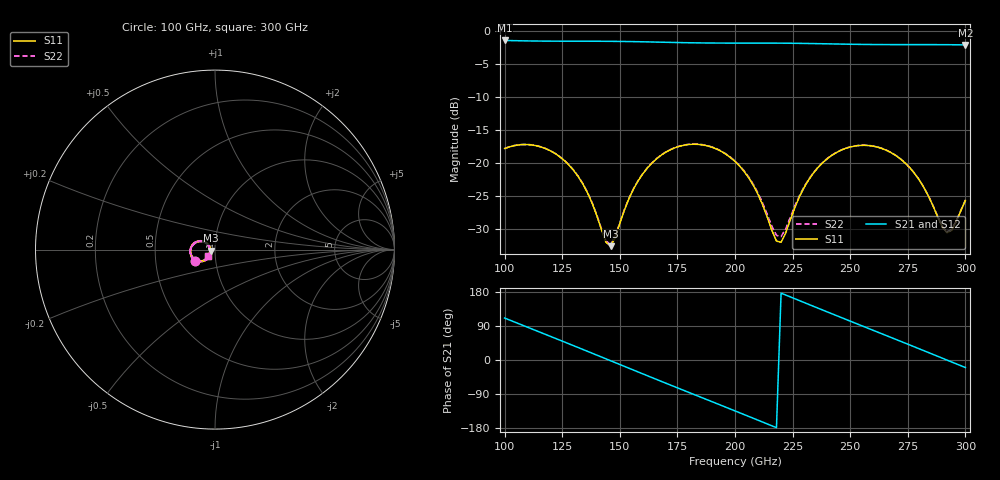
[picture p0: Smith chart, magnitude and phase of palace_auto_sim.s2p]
#  GHZ S DB R 50
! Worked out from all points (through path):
!   101 points, 100 GHz to 300 GHz, reference 50 ohm
!   highest |S21| = -1.42 dB at 100 GHz (marker M1); lowest = -2.1 dB at 300 GHz (marker M2)
!   group delay of S21, straight-line fit = 6.82 ps
!   lowest |S11| = -32.5 dB at 146 GHz (marker M3), VSWR 1.05, Z = 47.7 - j0.495 ohm
!   |S11| at or under -10 dB: start of sweep to end of sweep
!   |S22| runs from -32.3 to -17.1 dB; largest |S21 - S12| = 9.6e-14
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100  -17.78 -150.6  -1.42 110.8  -1.42 110.8  -17.76 -150.4
108  -17.17 -167.7  -1.48 91.3  -1.48 91.3  -17.15 -167.4
116  -17.56 175.4  -1.52 71.8  -1.52 71.8  -17.54 175.8
126  -19.61 155.7  -1.54 47.4  -1.54 47.4  -19.58 156.3
134  -23.15 144.2  -1.54 27.8  -1.54 27.8  -23.10 145.0
144  -31.95 169.6  -1.55 3.1  -1.55 3.1  -31.72 170.4
146  -32.54 -167.3  -1.56 -1.9  -1.56 -1.9  -32.29 -167.2
156  -23.86 -127.9  -1.60 -26.7  -1.60 -26.7  -23.82 -128.0
168  -18.77 -145.4  -1.69 -56.3  -1.69 -56.3  -18.74 -145.0
184  -17.14 -177.5  -1.79 -95.4  -1.79 -95.4  -17.11 -176.7
200  -19.72 151.7  -1.82 -134.3  -1.82 -134.3  -19.65 153.1
210  -24.72 140.7  -1.82 -158.8  -1.82 -158.8  -24.51 143.1
218  -31.77 171.5  -1.83 -178.6  -1.83 -178.6  -30.90 172.8
220  -31.95 -166.5  -1.84 176.5  -1.84 176.5  -31.08 -167.8
228  -25.05 -131.5  -1.86 156.7  -1.86 156.7  -24.88 -133.7
234  -21.50 -135.7  -1.90 141.8  -1.90 141.8  -21.43 -137.1
244  -18.38 -152.2  -1.96 117.3  -1.96 117.3  -18.35 -152.8
252  -17.39 -167.5  -2.01 97.7  -2.01 97.7  -17.37 -167.9
268  -18.44 162.0  -2.05 58.8  -2.05 58.8  -18.42 161.9
280  -22.54 145.2  -2.05 29.5  -2.05 29.5  -22.52 145.5
292  -30.48 -179.9  -2.07 -0.1  -2.07 -0.1  -30.37 -179.5
300  -25.62 -137.2  -2.09 -19.9  -2.09 -19.9  -25.56 -137.3
